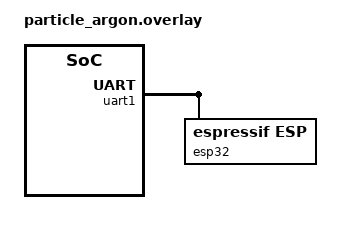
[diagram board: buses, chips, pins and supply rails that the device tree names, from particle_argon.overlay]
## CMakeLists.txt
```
cmake_minimum_required(VERSION 3.13.1)

find_package(Zephyr HINTS $ENV{ZEPHYR_BASE})
project(mesh_bridge)

target_sources(app PRIVATE src/main.c)

zephyr_library_include_directories(
  src/events
)

add_subdirectory(src/events)
add_subdirectory(src/modules)
```

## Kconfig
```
menu "Mesh Bridge"
rsource "src/modules/Kconfig"
rsource "src/events/Kconfig"
endmenu

menu "Zephyr Kernel"
source "Kconfig.zephyr"
endmenu
```

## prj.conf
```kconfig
# General
CONFIG_REBOOT=y
CONFIG_HEAP_MEM_POOL_SIZE=8192
CONFIG_SYSTEM_WORKQUEUE_STACK_SIZE=2048
CONFIG_GPIO=y
# CONFIG_POLL=y
# CONFIG_BOOTLOADER_MCUBOOT=y
CONFIG_EVENT_MANAGER=y
CONFIG_LINKER_ORPHAN_SECTION_PLACE=y
CONFIG_MPU_STACK_GUARD=y
CONFIG_SPEED_OPTIMIZATIONS=y
CONFIG_DEVICE_POWER_MANAGEMENT=y
CONFIG_SYS_PM_POLICY_APP=y

# Features
CONFIG_BRIDGE_CDC_ENABLE=y

 # USB
CONFIG_USB=y
CONFIG_USB_DEVICE_STACK=y
CONFIG_USB_DEVICE_MANUFACTURER="Nordic Semiconductor"
CONFIG_USB_DEVICE_PRODUCT="Particle Argon"
CONFIG_USB_DEVICE_VID=0x1915
CONFIG_USB_DEVICE_PID=0x9100
# CONFIG_USB_COMPOSITE_DEVICE=y
# CONFIG_USB_CDC_ACM_RINGBUF_SIZE=32768
# CONFIG_USB_CDC_ACM_DEVICE_COUNT=2

# Logging
CONFIG_LOG=y
CONFIG_USE_SEGGER_RTT=y
CONFIG_LOG_BACKEND_RTT=y
CONFIG_LOG_BACKEND_RTT_MODE_DROP=y

# Event logs
CONFIG_BRIDGE_LOG_MODULE_STATE_EVENT=n
# CONFIG_BRIDGE_LOG_UART_DATA_EVENT=n
# CONFIG_BRIDGE_LOG_CDC_DATA_EVENT=n
CONFIG_BRIDGE_LOG_POWER_DOWN_EVENT=n

 # UART
CONFIG_SERIAL=y
CONFIG_UART_INTERRUPT_DRIVEN=y
# CONFIG_UART_1_INTERRUPT_DRIVEN=n
CONFIG_UART_LINE_CTRL=y
# CONFIG_UART_ASYNC_API=y
# CONFIG_UART_1_ASYNC=y
CONFIG_UART_1_NRF_FLOW_CONTROL=y
# CONFIG_UART_1_NRF_HW_ASYNC=y
# CONFIG_UART_1_NRF_HW_ASYNC_TIMER=2
# CONFIG_NRFX_UARTE=y
# CONFIG_NRFX_UARTE1=y
# CONFIG_NRFX_TIMER=y
# CONFIG_NRFX_TIMER2=y
# CONFIG_NRFX_PPI=y

CONFIG_NETWORKING=y
CONFIG_NET_IPV4=y
CONFIG_NET_IPV6=n
CONFIG_NET_TCP=y
CONFIG_WIFI=y
CONFIG_WIFI_ESP=y
CONFIG_WIFI_ESP_AT_VERSION_1_7=y
CONFIG_WIFI_LOG_LEVEL_DBG=y
```

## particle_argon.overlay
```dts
&uart1 {
	status = "okay";
	// current-speed = <115200>;
	hw-flow-control;

	esp32 {
		compatible = "espressif,esp";
		label = "esp32";
		status = "okay";
		// wifi-reset-gpios = <&gpio0 24 GPIO_ACTIVE_HIGH>;
	};
};
```

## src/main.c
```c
#include <zephyr.h>

#include <event_manager.h>

#define MODULE main
#include "module_state_event.h"

#include <logging/log.h>
LOG_MODULE_REGISTER(MODULE);

void main(void)
{
	if (event_manager_init()) {
		LOG_ERR("Event manager not initialised");
	} else {
		module_set_state(MODULE_STATE_READY);
	}
}
```
